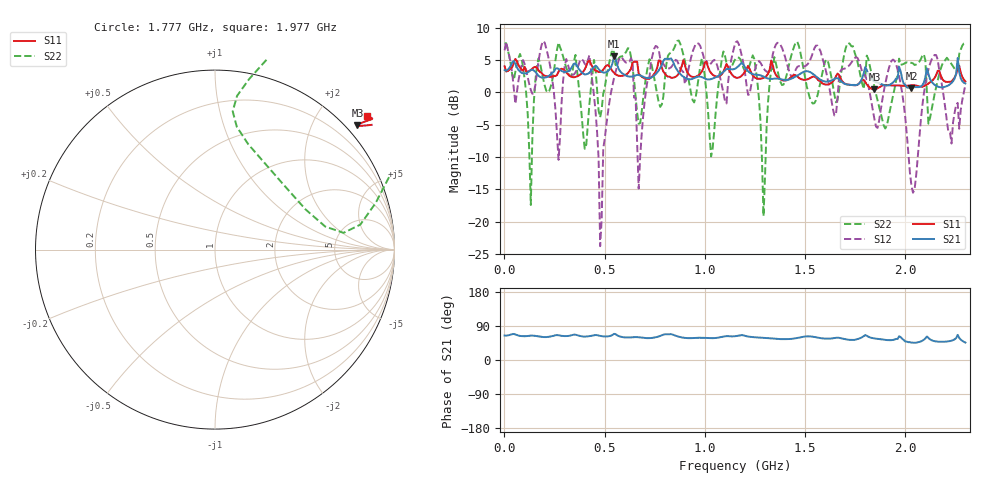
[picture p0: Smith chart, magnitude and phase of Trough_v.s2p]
# Hz S RI R 50.000000
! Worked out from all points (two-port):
!   300 points, 1 MHz to 2.3 GHz, reference 50 ohm
!   highest |S21| = 5.58 dB at 546.9 MHz (marker M1); lowest = 0.7 dB at 2.031 GHz (marker M2)
!   |S21| within 3 dB of the highest: 223.8 MHz to 607.3 MHz (383.5 MHz wide, 92.3 % of centre); 1.07 GHz to 1.282 GHz (211.6 MHz wide, 18 % of centre) (the widest 2 of 10)
!   lowest |S11| = 0.4 dB at 1.846 GHz (marker M3)
!   |S11| at or under -10 dB: nowhere
!   |S22| runs from -19.1 to 8.0 dB; largest |S21 - S12| = 1.7
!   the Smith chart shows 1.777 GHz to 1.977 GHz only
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1000000  1.455 0.6317  0.6352 1.341  1.098 1.8  1.737 1.626
1.470903e8  1.423 0.6405  0.6422 1.327  0.1812 0.9677  0.0282 0.8551
2.854916e8  1.372 0.6563  0.6457 1.309  0.8446 0.0282  1.795 1.045
3.854482e8  1.23 0.6686  0.6581 1.267  0.1003 1.8  0.556 0.366
4.23893e8  1.629 0.6651  0.6457 1.26  1.584 1.109  0.0457 0.8041
4.777157e8  1.272 0.6651  0.651 1.314  0.0545 0.0352  0.6229 0.1531
5.469164e8  1.232 0.6968  0.6792 1.775  0.1038 1.284  1.501 1.379
6.31495e8  1.351 0.6915  0.6651 1.142  1.606 0.8833  1.117 1.508
6.776288e8  1.154 0.7038  0.6845 1.165  0.3202 0.0387  0.4768 0.329
7.698963e8  1.612 0.7073  0.6897 1.304  1.191 1.768  0.5965 0.5842
8.775418e8  1.293 0.6985  0.6827 1.204  1.518 0.044  1.68 1.666
1.008254e9  1.564 0.7038  0.6686 1.072  1.299 1.165  0.0493 0.9941
1.108211e9  1.501 0.6968  0.6862 1.344  0.1971 0.7971  1.255 1.119
1.154344e9  1.091 0.7038  0.695 1.364  1.735 1.714  1.749 0.5261
1.215856e9  1.43 0.7109  0.6845 1.283  0.366 0.8815  1.072 1.07
1.26199e9  1.052 0.7214  0.6933 1.177  1.71 0.0581  0.4381 1.13
1.538793e9  1.086 0.7513  0.6633 1.221  1.242 1.591  0.6792 0.4575
1.846351e9  0.7935 0.6915  0.6633 1.019  0.6123 0.0845  0.2868 1.057
1.923241e9  0.8551 0.7408  0.7003 0.9044  0.3642 1.592  0.7161 0.0933
2.030886e9  0.7619 0.8375  0.7513 0.7795  0.1584 0.1056  1.647 0.3625
2.161599e9  1.244 0.7724  0.7355 0.8287  0.7513 1.631  0.1214 1.226
2.3e9  0.9238 0.7883  0.8129 0.8428  0.2041 1.126  1.68 1.738
